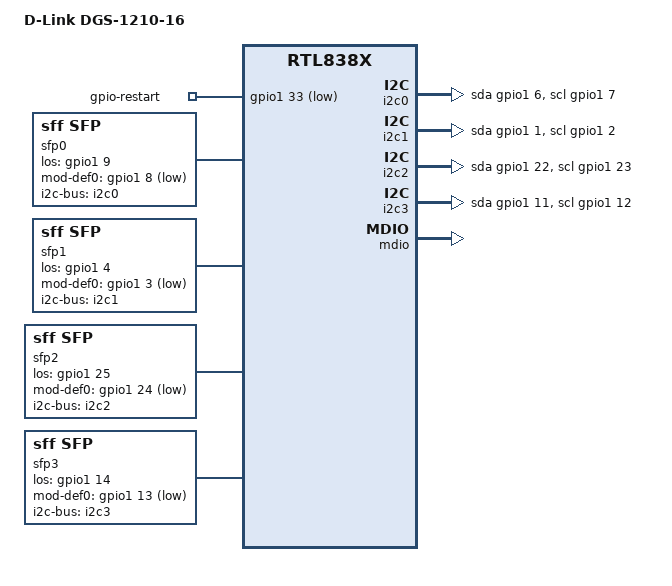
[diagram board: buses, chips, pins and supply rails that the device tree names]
// SPDX-License-Identifier: GPL-2.0-or-later OR MIT

#include "rtl8382_d-link_dgs-1210.dtsi"

#define COMBO_SFP_PHY(n, s) \
	phy##n: ethernet-phy@##n { \
		compatible = "ethernet-phy-ieee802.3-c22"; \
		sfp = <&sfp##s>; \
		reg = <##n>; \
	};

#define COMBO_PORT(n, s, m) \
	port@##n { \
		reg = <##n>; \
		label = SWITCH_PORT_LABEL(s) ; \
		phy-handle = <&phy##n>; \
		phy-mode = #m ; \
	};

/ {
	compatible = "d-link,dgs-1210-16", "realtek,rtl838x-soc";
	model = "D-Link DGS-1210-16";

	gpio1: rtl8231-gpio {
		compatible = "realtek,rtl8231-gpio";
		#gpio-cells = <2>;
		gpio-controller;
		indirect-access-bus-id = <0>;
	};

	gpio-restart {
		compatible = "gpio-restart";
		gpios = <&gpio1 33 GPIO_ACTIVE_LOW>;
	};

	led_set: led_set@0 {
		compatible = "realtek,rtl8380-leds";
		led_mode = "serial";
		combo_led_mode = <2>;
		led_set0 = <0x0a 0x0a>;  // 10/100 (yellow) and 1000MBit (green)
		led_set1 = <0x0f 0x0f>;  // 10/100 (yellow) and 1000MBit (green)
	};

	// Lan 17, leftmost SFP port
	i2c0: i2c-gpio-0 {
		compatible = "i2c-gpio";
		sda-gpios = <&gpio1 6 (GPIO_ACTIVE_HIGH | GPIO_OPEN_DRAIN)>;
		scl-gpios = <&gpio1 7 (GPIO_ACTIVE_HIGH | GPIO_OPEN_DRAIN)>;
		i2c-gpio,delay-us = <2>;
		#address-cells = <1>;
		#size-cells = <0>;
	};

	sfp0: sfp-p17 {
		compatible = "sff,sfp";
		i2c-bus = <&i2c0>;
		los-gpio = <&gpio1 9 GPIO_ACTIVE_HIGH>;
		mod-def0-gpio = <&gpio1 8 GPIO_ACTIVE_LOW>;
		// tx-disable-gpio handled by RTL8214FC based on media setting
	};

	// Lan 18
	i2c1: i2c-gpio-1 {
		compatible = "i2c-gpio";
		sda-gpios = <&gpio1 1 (GPIO_ACTIVE_HIGH | GPIO_OPEN_DRAIN)>;
		scl-gpios = <&gpio1 2 (GPIO_ACTIVE_HIGH | GPIO_OPEN_DRAIN)>;
		i2c-gpio,delay-us = <2>;
		#address-cells = <1>;
		#size-cells = <0>;
	};

	sfp1: sfp-p18 {
		compatible = "sff,sfp";
		i2c-bus = <&i2c1>;
		los-gpio = <&gpio1 4 GPIO_ACTIVE_HIGH>;
		mod-def0-gpio = <&gpio1 3 GPIO_ACTIVE_LOW>;
		// tx-disable-gpio handled by RTL8214FC based on media setting
	};

	// Lan 19
	i2c2: i2c-gpio-2 {
		compatible = "i2c-gpio";
		sda-gpios = <&gpio1 22 (GPIO_ACTIVE_HIGH | GPIO_OPEN_DRAIN)>;
		scl-gpios = <&gpio1 23 (GPIO_ACTIVE_HIGH | GPIO_OPEN_DRAIN)>;
		i2c-gpio,delay-us = <2>;
		#address-cells = <1>;
		#size-cells = <0>;
	};

	sfp2: sfp-p19 {
		compatible = "sff,sfp";
		i2c-bus = <&i2c2>;
		los-gpio = <&gpio1 25 GPIO_ACTIVE_HIGH>;
		mod-def0-gpio = <&gpio1 24 GPIO_ACTIVE_LOW>;
		// tx-disable-gpio handled by RTL8214FC based on media setting
	};

	// Lan 20, rightmost SFP port
	i2c3: i2c-gpio-3 {
		compatible = "i2c-gpio";
		sda-gpios = <&gpio1 11 (GPIO_ACTIVE_HIGH | GPIO_OPEN_DRAIN)>;
		scl-gpios = <&gpio1 12 (GPIO_ACTIVE_HIGH | GPIO_OPEN_DRAIN)>;
		i2c-gpio,delay-us = <2>;
		#address-cells = <1>;
		#size-cells = <0>;
	};

	sfp3: sfp-p20 {
		compatible = "sff,sfp";
		i2c-bus = <&i2c3>;
		los-gpio = <&gpio1 14 GPIO_ACTIVE_HIGH>;
		mod-def0-gpio = <&gpio1 13 GPIO_ACTIVE_LOW>;
		// tx-disable-gpio handled by RTL8214FC based on media setting
	};

};

&ethernet0 {
	mdio: mdio-bus {
		compatible = "realtek,rtl838x-mdio";
		regmap = <&ethernet0>;
		#address-cells = <1>;
		#size-cells = <0>;

		EXTERNAL_PHY(0)
		EXTERNAL_PHY(1)
		EXTERNAL_PHY(2)
		EXTERNAL_PHY(3)
		EXTERNAL_PHY(4)
		EXTERNAL_PHY(5)
		EXTERNAL_PHY(6)
		EXTERNAL_PHY(7)

		INTERNAL_PHY(8)
		INTERNAL_PHY(9)
		INTERNAL_PHY(10)
		INTERNAL_PHY(11)
		INTERNAL_PHY(12)
		INTERNAL_PHY(13)
		INTERNAL_PHY(14)
		INTERNAL_PHY(15)

		COMBO_SFP_PHY(24, 0)
		COMBO_SFP_PHY(25, 1)
		COMBO_SFP_PHY(26, 2)
		COMBO_SFP_PHY(27, 3)
	};
};

&switch0 {
	ports {
		#address-cells = <1>;
		#size-cells = <0>;

		SWITCH_PORT(0, 1, qsgmii)
		SWITCH_PORT(1, 2, qsgmii)
		SWITCH_PORT(2, 3, qsgmii)
		SWITCH_PORT(3, 4, qsgmii)
		SWITCH_PORT(4, 5, qsgmii)
		SWITCH_PORT(5, 6, qsgmii)
		SWITCH_PORT(6, 7, qsgmii)
		SWITCH_PORT(7, 8, qsgmii)

		SWITCH_PORT(8, 9, internal)
		SWITCH_PORT(9, 10, internal)
		SWITCH_PORT(10, 11, internal)
		SWITCH_PORT(11, 12, internal)
		SWITCH_PORT(12, 13, internal)
		SWITCH_PORT(13, 14, internal)
		SWITCH_PORT(14, 15, internal)
		SWITCH_PORT(15, 16, internal)

		COMBO_PORT(24, 17, qsgmii)
		COMBO_PORT(25, 18, qsgmii)
		COMBO_PORT(26, 19, qsgmii)
		COMBO_PORT(27, 20, qsgmii)

		port@28 {
			ethernet = <&ethernet0>;
			reg = <28>;
			phy-mode = "internal";
			fixed-link {
				speed = <1000>;
				full-duplex;
			};
		};
	};
};
